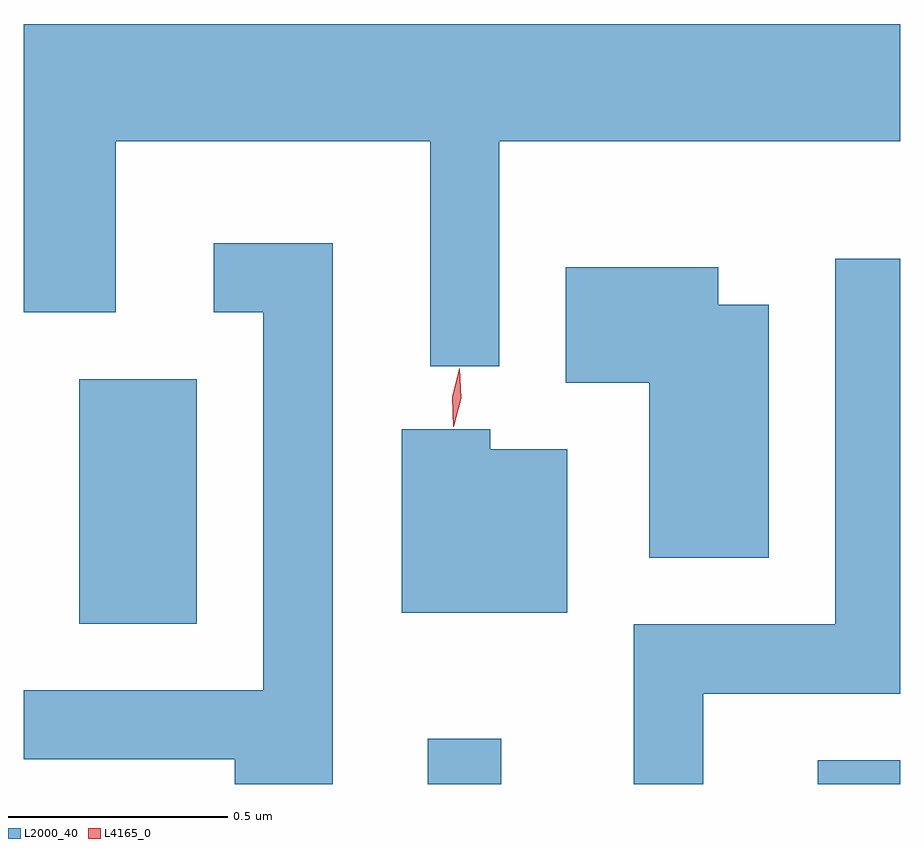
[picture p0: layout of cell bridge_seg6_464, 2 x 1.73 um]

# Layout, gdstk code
import gdstk
lib = gdstk.Library(unit=1e-6, precision=1e-09)
def R(c, l, rs):  # rectangles x0, y0, x1, y1
    for r in rs: c.add(gdstk.rectangle(r[:2], r[2:], *l))
def P(c, l, *ps):  # polygons
    for p in ps: c.add(gdstk.Polygon(p, *l))
L2000_40 = (2000, 40)
L4165_0 = (4165, 0)

bridge_seg6_464 = lib.new_cell('bridge_seg6_464')
R(bridge_seg6_464, L2000_40, [(816.601,1644.03,816.769,1644.133), (817.491,1644.03,817.679,1644.084), (815.806,1644.396,816.074,1644.954)])
P(bridge_seg6_464, L2000_40, [(816.764,1645.496),(817.679,1645.496),(817.679,1645.764),(815.679,1645.764),(815.679,1645.106),(815.889,1645.106),(815.889,1645.496),(816.606,1645.496),(816.606,1644.983),(816.764,1644.983)],
  [(816.384,1645.264),(816.113,1645.264),(816.113,1645.106),(816.226,1645.106),(816.226,1644.244),(815.679,1644.244),(815.679,1644.086),(816.161,1644.086),(816.161,1644.03),(816.384,1644.03)],
  [(817.229,1644.236),(817.679,1644.236),(817.679,1645.228),(817.531,1645.228),(817.531,1644.394),(817.071,1644.394),(817.071,1644.03),(817.229,1644.03)],
  [(817.379,1645.124),(817.264,1645.124),(817.264,1645.209),(816.916,1645.209),(816.916,1644.946),(817.106,1644.946),(817.106,1644.546),(817.379,1644.546)],
  [(816.919,1644.794),(816.744,1644.794),(816.744,1644.839),(816.541,1644.839),(816.541,1644.421),(816.919,1644.421)])
P(bridge_seg6_464, L4165_0, [(816.659,1644.845),(816.659,1644.845),(816.657,1644.912),(816.673,1644.977),(816.674,1644.978),(816.674,1644.977),(816.677,1644.91),(816.66,1644.845)])

lib.write_gds('bridge_seg6_464.gds')
